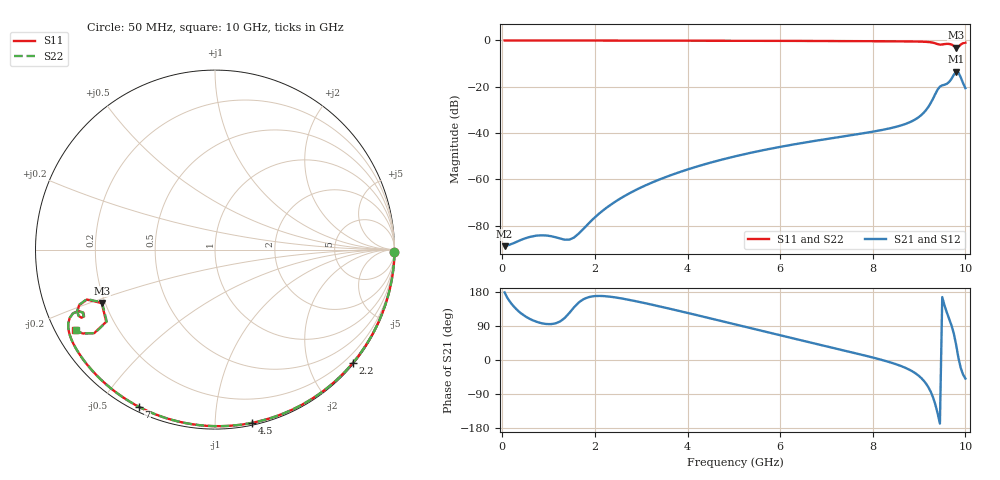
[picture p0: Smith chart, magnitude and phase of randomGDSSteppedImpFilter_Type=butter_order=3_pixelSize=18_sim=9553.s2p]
! freq	dB(S11)	phase(S11)	dB(S12)	phase(S12)
!  dB(S21)	phase(S21)	dB(S22)	phase(S22)
!S-par simulation data
#  GHz  S  DB  R 50
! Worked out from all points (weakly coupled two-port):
!   200 points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, 50 MHz to 10 GHz, reference 50 ohm
!   highest |S21| = -13.41 dB at 9.8 GHz (marker M1); lowest = -88.8 dB at 50 MHz (marker M2)
!   lowest |S11| = -3.1 dB at 9.8 GHz (marker M3), VSWR 5.62, Z = 9.33 - j10.8 ohm
!   |S11| at or under -10 dB: nowhere
!   |S22| runs from -3.2 to 0.0 dB; largest |S21 - S12| = 0
!   S11 on the Smith chart (normalised r, x): 50 MHz: open; 2.2 GHz: 0.03, -2.78; 4.5 GHz: 0.02, -1.24; 7 GHz: 0.02, -0.63; 10 GHz: 0.06, -0.27
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0.05  -0.00 -0.9  -88.82 178.3  -88.82 178.3  -0.00 -0.9
1.75  -0.04 -31.6  -81.35 160.1  -81.35 160.1  -0.04 -31.6
1.85  -0.04 -33.4  -79.27 165.2  -79.27 165.2  -0.04 -33.4
2.2  -0.05 -39.5  -73.00 168.6  -73.00 168.6  -0.05 -39.5
2.75  -0.06 -49.0  -65.94 158.5  -65.94 158.5  -0.06 -49.0
3.4  -0.08 -60.0  -59.97 141.4  -59.97 141.4  -0.08 -60.0
4.5  -0.11 -77.9  -52.73 109.7  -52.73 109.7  -0.11 -77.9
5.05  -0.13 -86.5  -49.92 93.4  -49.92 93.4  -0.13 -86.5
6.7  -0.22 -111.5  -43.52 44.9  -43.52 44.9  -0.22 -111.5
7  -0.24 -115.9  -42.56 36.2  -42.56 36.2  -0.24 -115.9
8.35  -0.36 -136.1  -38.03 -5.2  -38.03 -5.2  -0.36 -136.1
8.75  -0.41 -142.6  -35.71 -23.2  -35.71 -23.2  -0.41 -142.6
9.05  -0.51 -148.4  -32.17 -48.0  -32.17 -48.0  -0.51 -148.4
9.2  -0.67 -152.0  -28.69 -71.7  -28.69 -71.7  -0.67 -152.0
9.35  -1.24 -155.8  -23.13 -117.0  -23.13 -117.0  -1.23 -155.8
9.5  -1.74 -153.0  -19.37 166.0  -19.37 166.0  -1.72 -153.0
9.6  -1.47 -154.1  -18.72 125.2  -18.72 125.2  -1.46 -154.2
9.7  -1.74 -157.7  -16.57 91.2  -16.57 91.2  -1.74 -157.9
9.8  -3.13 -154.7  -13.41 40.2  -13.41 40.2  -3.16 -154.9
9.85  -2.77 -146.4  -13.81 5.6  -13.81 5.6  -2.81 -146.4
9.9  -1.74 -145.3  -15.98 -21.4  -15.98 -21.4  -1.76 -145.2
10  -0.93 -150.0  -20.59 -49.0  -20.59 -49.0  -0.93 -149.9
